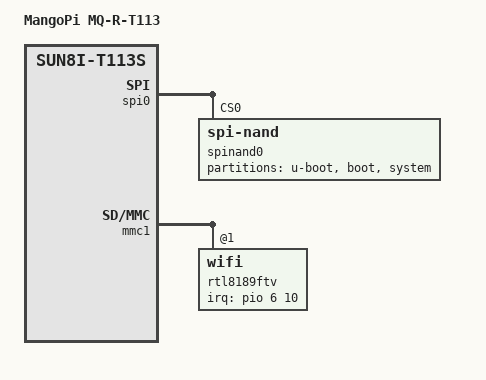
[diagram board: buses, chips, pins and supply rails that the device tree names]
// SPDX-License-Identifier: (GPL-2.0+ OR MIT)
// Copyright (C) 2022 Arm Ltd.

#include <dt-bindings/interrupt-controller/irq.h>

/dts-v1/;

#include "sun8i-t113s.dtsi"
#include "sunxi-d1s-t113-mangopi-mq-r.dtsi"

/ {
	model = "MangoPi MQ-R-T113";
	compatible = "widora,mangopi-mq-r-t113", "allwinner,sun8i-t113s";

	aliases {
		ethernet0 = &rtl8189ftv;
	};
};

&cpu0 {
	cpu-supply = <&reg_vcc_core>;
};

&spi0 {
	pinctrl-names = "default";
	pinctrl-0 = <&spi0_pins>;
	status = "okay";

	spinand0: spinand@0 {
		compatible = "spi-nand";
		reg = <0>;
		status = "okay";

		partitions {
			compatible = "fixed-partitions";
			#address-cells = <1>;
			#size-cells = <1>;

			partition@0 {
				label = "u-boot";
				reg = <0x0 0x100000>;
			};

			partition@100000 {
				label = "boot";
				reg = <0x100000 0x1400000>;
			};

			partition@1500000 {
				label = "system";
				reg = <0x1500000 0xeb00000>;
			};
		};

	};
};


&cpu1 {
	cpu-supply = <&reg_vcc_core>;
};

&mmc1 {
	rtl8189ftv: wifi@1 {
		reg = <1>;
		interrupt-parent = <&pio>;
		interrupts = <6 10 IRQ_TYPE_LEVEL_LOW>; /* PG10 = WL_WAKE_AP */
		interrupt-names = "host-wake";
	};
};
